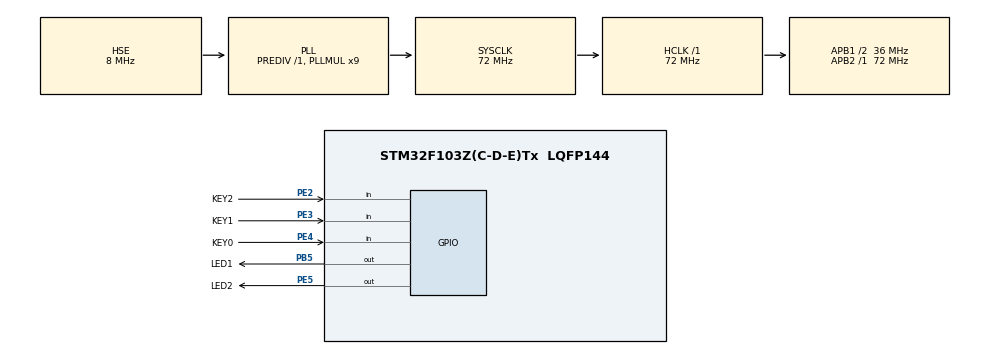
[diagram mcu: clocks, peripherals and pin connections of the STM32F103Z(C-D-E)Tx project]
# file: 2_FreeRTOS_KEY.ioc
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FREERTOS.Tasks01=defaultTask,0,128,StartDefaultTask,Default,NULL,Dynamic,NULL,NULL;myTaskLED,-2,128,StartTaskLED,Default,NULL,Dynamic,NULL,NULL;myTaskKEY,-2,128,StartTaskKEY,Default,NULL,Dynamic,NULL,NULL
Mcu.Family=STM32F1
Mcu.Name=STM32F103Z(C-D-E)Tx
Mcu.Package=LQFP144
NVIC.PriorityGroup=NVIC_PRIORITYGROUP_4
NVIC.TIM7_IRQn=true\:15\:0\:false\:false\:true\:false\:false\:true
NVIC.TimeBase=TIM7_IRQn
NVIC.TimeBaseIP=TIM7
OSC_IN.Mode=HSE-External-Oscillator
OSC_IN.Signal=RCC_OSC_IN
OSC_OUT.Mode=HSE-External-Oscillator
OSC_OUT.Signal=RCC_OSC_OUT
PA13.Mode=Serial_Wire
PA13.Signal=SYS_JTMS-SWDIO
PA14.Mode=Serial_Wire
PA14.Signal=SYS_JTCK-SWCLK
PB5.GPIO_Label=LED1
PB5.PinState=GPIO_PIN_SET
PB5.Signal=GPIO_Output
PE2.GPIO_Label=KEY2
PE2.GPIO_PuPd=GPIO_PULLUP
PE2.Signal=GPIO_Input
PE3.GPIO_Label=KEY1
PE3.GPIO_Mode=GPIO_MODE_INPUT
PE3.GPIO_PuPd=GPIO_PULLUP
PE3.Signal=GPIO_Input
PE4.GPIO_Label=KEY0
PE4.GPIO_PuPd=GPIO_PULLUP
PE4.Signal=GPIO_Input
PE5.GPIO_Label=LED2
PE5.PinState=GPIO_PIN_SET
PE5.Signal=GPIO_Output
ProjectManager.HeapSize=0x200
ProjectManager.StackSize=0x400
ProjectManager.TargetToolchain=MDK-ARM V5.32
RCC.AHBFreq_Value=72000000
RCC.APB1CLKDivider=RCC_HCLK_DIV2
RCC.APB1Freq_Value=36000000
RCC.APB1TimFreq_Value=72000000
RCC.APB2Freq_Value=72000000
RCC.APB2TimFreq_Value=72000000
RCC.HCLKFreq_Value=72000000
RCC.PLLMUL=RCC_PLL_MUL9
RCC.PLLSourceVirtual=RCC_PLLSOURCE_HSE
RCC.SYSCLKFreq_VALUE=72000000
RCC.SYSCLKSource=RCC_SYSCLKSOURCE_PLLCLK
RCC.USBFreq_Value=72000000
VP_FREERTOS_VS_CMSIS_V1.Mode=CMSIS_V1
VP_SYS_VS_tim7.Mode=TIM7
board=custom

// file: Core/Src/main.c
/* USER CODE BEGIN Header */
/**
  ******************************************************************************
  * @file           : main.c
  * @brief          : Main program body
  ******************************************************************************
  * @attention
  *
  * Copyright (c) 2023 STMicroelectronics.
  * All rights reserved.
  *
  * This software is licensed under terms that can be found in the LICENSE file
  * in the root directory of this software component.
  * If no LICENSE file comes with this software, it is provided AS-IS.
  *
  ******************************************************************************
  */
/* USER CODE END Header */
#include "main.h"
#include "cmsis_os.h"
#include "gpio.h"

void SystemClock_Config(void);
void MX_FREERTOS_Init(void);

int main(void)
{

  /* MCU Configuration--------------------------------------------------------*/

  /* Reset of all peripherals, Initializes the Flash interface and the Systick. */
  HAL_Init();

  /* Configure the system clock */
  SystemClock_Config();

  /* Initialize all configured peripherals */
  MX_GPIO_Init();

  /* Call init function for freertos objects (in freertos.c) */
  MX_FREERTOS_Init();
  /* Start scheduler */
  osKernelStart();

  /* We should never get here as control is now taken by the scheduler */
  /* Infinite loop */
  while (1)
  {

  }
}

void SystemClock_Config(void)
{
  RCC_OscInitTypeDef RCC_OscInitStruct = {0};
  RCC_ClkInitTypeDef RCC_ClkInitStruct = {0};

  /** Initializes the RCC Oscillators according to the specified parameters
  * in the RCC_OscInitTypeDef structure.
  */
  RCC_OscInitStruct.OscillatorType = RCC_OSCILLATORTYPE_HSE;
  RCC_OscInitStruct.HSEState = RCC_HSE_ON;
  RCC_OscInitStruct.HSEPredivValue = RCC_HSE_PREDIV_DIV1;
  RCC_OscInitStruct.HSIState = RCC_HSI_ON;
  RCC_OscInitStruct.PLL.PLLState = RCC_PLL_ON;
  RCC_OscInitStruct.PLL.PLLSource = RCC_PLLSOURCE_HSE;
  RCC_OscInitStruct.PLL.PLLMUL = RCC_PLL_MUL9;
  if (HAL_RCC_OscConfig(&RCC_OscInitStruct) != HAL_OK)
  {
    Error_Handler();
  }
  /** Initializes the CPU, AHB and APB buses clocks
  */
  RCC_ClkInitStruct.ClockType = RCC_CLOCKTYPE_HCLK|RCC_CLOCKTYPE_SYSCLK
                              |RCC_CLOCKTYPE_PCLK1|RCC_CLOCKTYPE_PCLK2;
  RCC_ClkInitStruct.SYSCLKSource = RCC_SYSCLKSOURCE_PLLCLK;
  RCC_ClkInitStruct.AHBCLKDivider = RCC_SYSCLK_DIV1;
  RCC_ClkInitStruct.APB1CLKDivider = RCC_HCLK_DIV2;
  RCC_ClkInitStruct.APB2CLKDivider = RCC_HCLK_DIV1;

  if (HAL_RCC_ClockConfig(&RCC_ClkInitStruct, FLASH_LATENCY_2) != HAL_OK)
  {
    Error_Handler();
  }
}

void HAL_TIM_PeriodElapsedCallback(TIM_HandleTypeDef *htim)
{
  if (htim->Instance == TIM7) {
    HAL_IncTick();
  }
}

void Error_Handler(void)
{
  __disable_irq();
  while (1)
  {
  }
}

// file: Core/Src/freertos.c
/* USER CODE BEGIN Header */
/**
  ******************************************************************************
  * File Name          : freertos.c
  * Description        : Code for freertos applications
  ******************************************************************************
  * @attention
  *
  * Copyright (c) 2023 STMicroelectronics.
  * All rights reserved.
  *
  * This software is licensed under terms that can be found in the LICENSE file
  * in the root directory of this software component.
  * If no LICENSE file comes with this software, it is provided AS-IS.
  *
  ******************************************************************************
  */
/* USER CODE END Header */

#include "FreeRTOS.h"
#include "task.h"
#include "main.h"
#include "cmsis_os.h"

/* USER CODE BEGIN Variables */
  uint8_t flag=0;
/* USER CODE END Variables */
osThreadId defaultTaskHandle;
osThreadId myTaskLEDHandle;
osThreadId myTaskKEYHandle;

void StartDefaultTask(void const * argument);
void StartTaskLED(void const * argument);
void StartTaskKEY(void const * argument);

void MX_FREERTOS_Init(void); /* (MISRA C 2004 rule 8.1) */

/* GetIdleTaskMemory prototype (linked to static allocation support) */
void vApplicationGetIdleTaskMemory( StaticTask_t **ppxIdleTaskTCBBuffer, StackType_t **ppxIdleTaskStackBuffer, uint32_t *pulIdleTaskStackSize );

/* USER CODE BEGIN GET_IDLE_TASK_MEMORY */
static StaticTask_t xIdleTaskTCBBuffer;
static StackType_t xIdleStack[configMINIMAL_STACK_SIZE];

void vApplicationGetIdleTaskMemory( StaticTask_t **ppxIdleTaskTCBBuffer, StackType_t **ppxIdleTaskStackBuffer, uint32_t *pulIdleTaskStackSize )
{
  *ppxIdleTaskTCBBuffer = &xIdleTaskTCBBuffer;
  *ppxIdleTaskStackBuffer = &xIdleStack[0];
  *pulIdleTaskStackSize = configMINIMAL_STACK_SIZE;
  /* place for user code */
}
/* USER CODE END GET_IDLE_TASK_MEMORY */

void MX_FREERTOS_Init(void) {

  /* Create the thread(s) */
  /* definition and creation of defaultTask */
  osThreadDef(defaultTask, StartDefaultTask, osPriorityNormal, 0, 128);
  defaultTaskHandle = osThreadCreate(osThread(defaultTask), NULL);

  /* definition and creation of myTaskLED */
  osThreadDef(myTaskLED, StartTaskLED, osPriorityLow, 0, 128);
  myTaskLEDHandle = osThreadCreate(osThread(myTaskLED), NULL);

  /* definition and creation of myTaskKEY */
  osThreadDef(myTaskKEY, StartTaskKEY, osPriorityLow, 0, 128);
  myTaskKEYHandle = osThreadCreate(osThread(myTaskKEY), NULL);

}

void StartDefaultTask(void const * argument)
{
  for(;;)
  {
    osDelay(1);
  }
}

void StartTaskLED(void const * argument)
{
  /* USER CODE BEGIN StartTaskLED */
  /* Infinite loop */
  while(1)
  {
	  if(flag==1)
	  {
		  LED1=0;
		  LED2=1;
	  }
	  else if(flag==2)
	  {
		  LED1=0;
		  LED2=0;
	  }
	  else if(flag==3)
	  {
		  LED1=0;
		  LED2=0;
	  }
      osDelay(1);
  }
  /* USER CODE END StartTaskLED */
}

void StartTaskKEY(void const * argument)
{
  /* USER CODE BEGIN StartTaskKEY */
  /* Infinite loop */
	LED1=1;
	LED2=1;
  for(;;)
  {
	static uint8_t key_up=1; //按键按松开标志
	if(key_up && (K0==0 || K1==0 ))
	{
		osDelay(10);//(10); //去抖动
		key_up=0;
		if(K0==0)
		{
			flag=1;
		}
		else if(K1==0)
		{
			flag=2;
		}
	}
	else if(K0==1 &&  K1==1 ) key_up=1;
  }
  /* USER CODE END StartTaskKEY */
}
